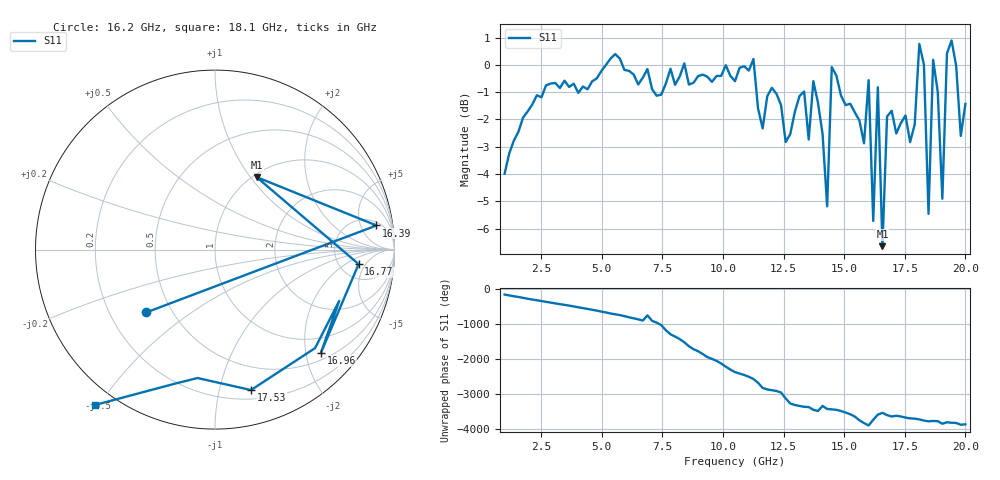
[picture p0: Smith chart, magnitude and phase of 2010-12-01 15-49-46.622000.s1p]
# GHz S RI R 50
!freq	ReS11	ImS11
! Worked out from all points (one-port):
!   101 points, 1 GHz to 20 GHz, reference 50 ohm
!   lowest |S11| = -6.6 dB at 16.58 GHz (marker M1), VSWR 2.74, Z = 51.9 + j53.6 ohm
!   |S11| at or under -10 dB: nowhere
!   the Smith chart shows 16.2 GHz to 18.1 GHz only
!   S11 on the Smith chart (normalised r, x): 16.2 GHz: 0.36, -0.34; 16.39 GHz: 6, +10; 16.77 GHz: 7.60, -3.48; 16.96 GHz: 0.64, -2.31; 17.53 GHz: 0.28, -1.25; 18.1 GHz: -0.05, -0.49
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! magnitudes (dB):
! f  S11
! 1 GHz  -4.0
! 3.47 GHz  -0.6
! 5.75 GHz  0.2
! 8.22 GHz  -0.4
! 10.5 GHz  -0.6
! 12.97 GHz  -1.7
! 13.54 GHz  -2.7
! 13.73 GHz  -0.6
! 14.3 GHz  -5.2
! 14.49 GHz  -0.1
! 15.25 GHz  -1.4
! 15.82 GHz  -2.9
! 16.01 GHz  -0.6
! 16.2 GHz  -5.7
! 16.39 GHz  -0.8
! 16.58 GHz  -6.6
! 16.77 GHz  -1.9
! 16.96 GHz  -1.7
! 17.53 GHz  -1.9
! 17.72 GHz  -2.8
! 18.1 GHz  0.8
! 18.29 GHz  0.0
! 18.48 GHz  -5.5
! 18.67 GHz  0.2
! 19.05 GHz  -4.9
! 19.24 GHz  0.4
! 19.81 GHz  -2.6
! 20 GHz  -1.4
